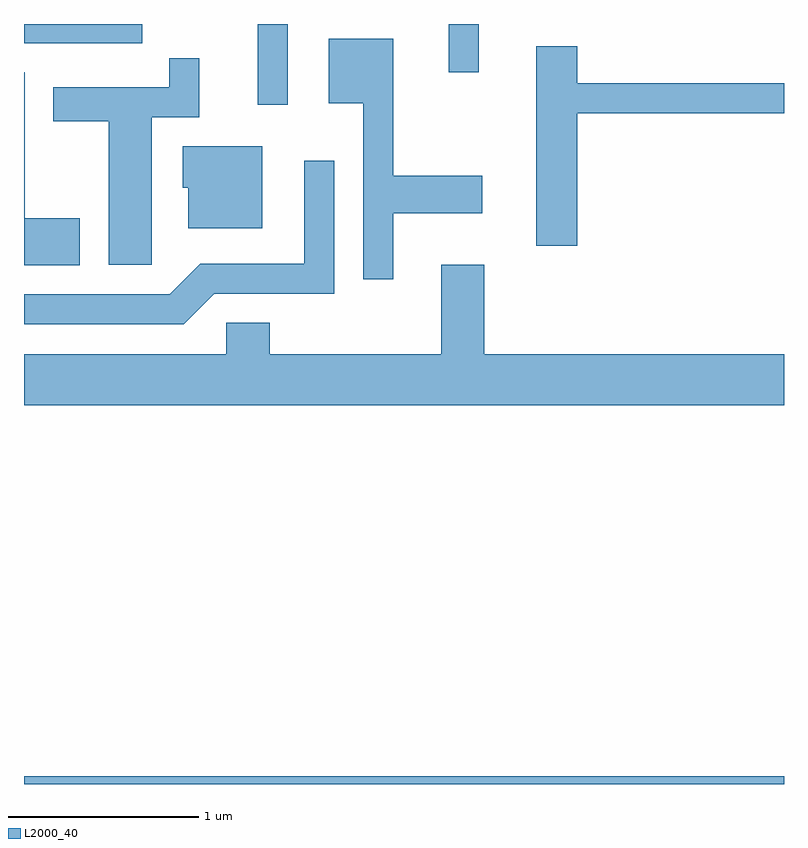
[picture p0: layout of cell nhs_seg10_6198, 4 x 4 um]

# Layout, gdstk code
import gdstk
lib = gdstk.Library(unit=1e-6, precision=1e-09)
def R(c, l, rs):  # rectangles x0, y0, x1, y1
    for r in rs: c.add(gdstk.rectangle(r[:2], r[2:], *l))
def P(c, l, *ps):  # polygons
    for p in ps: c.add(gdstk.Polygon(p, *l))
L2000_40 = (2000, 40)

nhs_seg10_6198 = lib.new_cell('nhs_seg10_6198')
R(nhs_seg10_6198, L2000_40, [(367.611,2178.522,371.611,2178.564), (368.841,2182.098,368.999,2182.522), (369.846,2182.268,370.004,2182.522), (367.611,2182.421,368.233,2182.522)])
P(nhs_seg10_6198, L2000_40, [(369.554,2181.526),(370.024,2181.526),(370.024,2181.724),(369.554,2181.724),(369.554,2182.444),(369.216,2182.444),(369.216,2182.106),(369.396,2182.106),(369.396,2181.178),(369.554,2181.178)],
  [(370.524,2182.051),(371.611,2182.051),(371.611,2182.209),(370.524,2182.209),(370.524,2182.404),(370.306,2182.404),(370.306,2181.356),(370.524,2181.356)],
  [(368.284,2182.031),(368.534,2182.031),(368.534,2182.343),(368.376,2182.343),(368.376,2182.189),(367.766,2182.189),(367.766,2182.011),(368.056,2182.011),(368.056,2181.256),(368.284,2181.256)],
  [(367.904,2181.499),(367.614,2181.499),(367.614,2182.269),(367.611,2182.269),(367.611,2181.251),(367.904,2181.251)],
  [(368.864,2181.879),(368.446,2181.879),(368.446,2181.661),(368.476,2181.661),(368.476,2181.446),(368.864,2181.446)],
  [(368.612,2181.101),(369.244,2181.101),(369.244,2181.803),(369.086,2181.803),(369.086,2181.259),(368.539,2181.259),(368.379,2181.099),(367.611,2181.099),(367.611,2180.941),(368.452,2180.941)],
  [(371.611,2180.784),(370.034,2180.784),(370.034,2181.254),(369.806,2181.254),(369.806,2180.784),(368.904,2180.784),(368.904,2180.949),(368.676,2180.949),(368.676,2180.784),(367.611,2180.784),(367.611,2180.516),(371.611,2180.516)])

lib.write_gds('nhs_seg10_6198.gds')
